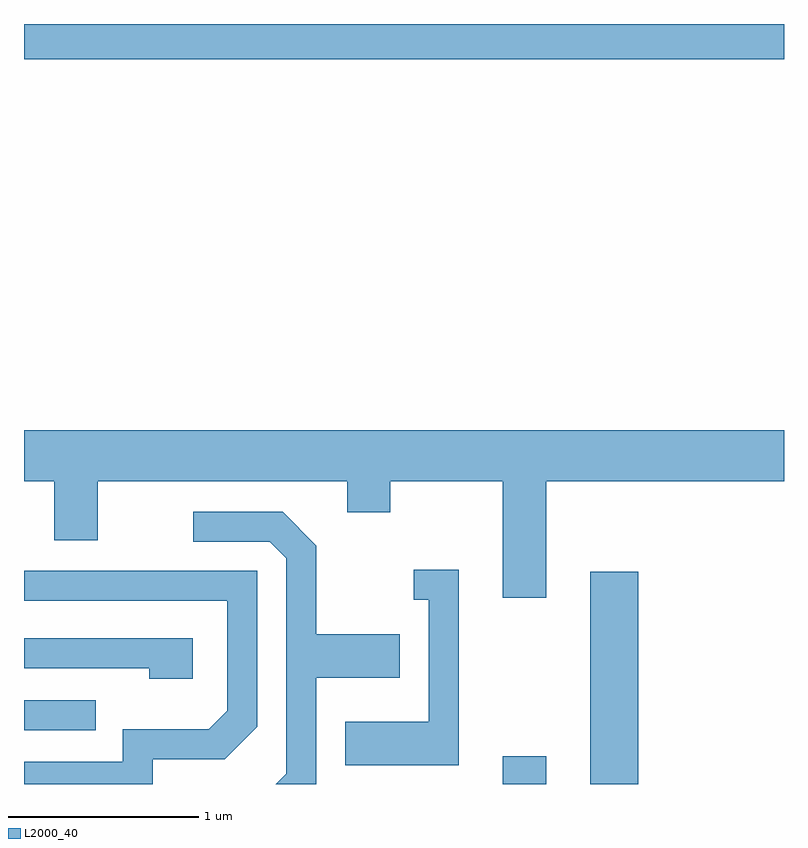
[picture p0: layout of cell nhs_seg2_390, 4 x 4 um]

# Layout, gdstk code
import gdstk
lib = gdstk.Library(unit=1e-6, precision=1e-09)
def R(c, l, rs):  # rectangles x0, y0, x1, y1
    for r in rs: c.add(gdstk.rectangle(r[:2], r[2:], *l))
def P(c, l, *ps):  # polygons
    for p in ps: c.add(gdstk.Polygon(p, *l))
L2000_40 = (2000, 40)

nhs_seg2_390 = lib.new_cell('nhs_seg2_390')
R(nhs_seg2_390, L2000_40, [(198.131,1077.802,198.359,1077.949), (198.591,1077.802,198.844,1078.919), (195.611,1078.086,195.988,1078.244), (195.611,1081.616,199.611,1081.802)])
P(nhs_seg2_390, L2000_40, [(198.359,1079.396),(199.611,1079.396),(199.611,1079.664),(195.611,1079.664),(195.611,1079.396),(195.771,1079.396),(195.771,1079.086),(195.999,1079.086),(195.999,1079.396),(197.311,1079.396),(197.311,1079.231),(197.539,1079.231),(197.539,1079.396),(198.131,1079.396),(198.131,1078.781),(198.359,1078.781)],
  [(197.149,1078.361),(197.589,1078.361),(197.589,1078.589),(197.149,1078.589),(197.149,1079.057),(196.972,1079.234),(196.503,1079.234),(196.503,1079.076),(196.904,1079.076),(196.991,1078.989),(196.991,1077.857),(196.937,1077.802),(197.149,1077.802)],
  [(197.899,1078.929),(197.663,1078.929),(197.663,1078.771),(197.741,1078.771),(197.741,1078.129),(197.301,1078.129),(197.301,1077.901),(197.899,1077.901)],
  [(196.289,1077.931),(196.667,1077.931),(196.839,1078.104),(196.839,1078.924),(195.611,1078.924),(195.611,1078.766),(196.681,1078.766),(196.681,1078.187),(196.584,1078.089),(196.131,1078.089),(196.131,1077.919),(195.611,1077.919),(195.611,1077.802),(196.289,1077.802)],
  [(196.499,1078.569),(195.611,1078.569),(195.611,1078.411),(196.271,1078.411),(196.271,1078.356),(196.499,1078.356)])

lib.write_gds('nhs_seg2_390.gds')
